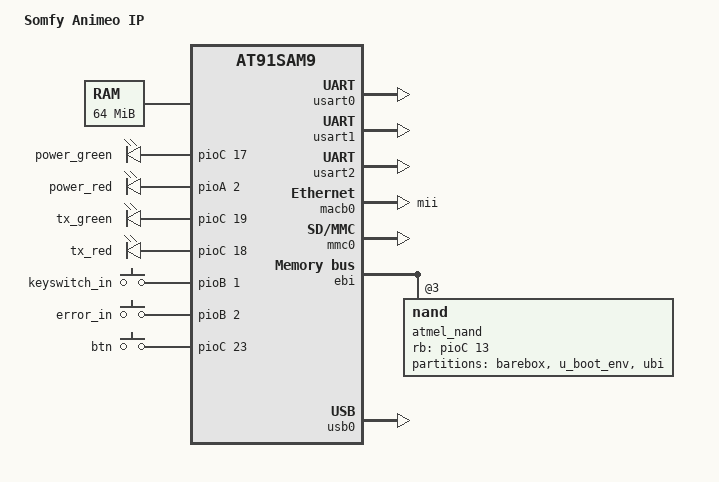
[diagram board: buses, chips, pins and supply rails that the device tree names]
// SPDX-License-Identifier: GPL-2.0-only
/*
 * animeo_ip.dts - Device Tree file for Somfy Animeo IP Boards
 *
 *  Copyright (C) 2011-2012 Jean-Christophe PLAGNIOL-VILLARD <plagnioj@jcrosoft.com>
 */

/dts-v1/;
#include "at91sam9260.dtsi"

/ {
	model = "Somfy Animeo IP";
	compatible = "somfy,animeo-ip", "atmel,at91sam9260", "atmel,at91sam9";

	aliases {
		serial0 = &usart1;
		serial1 = &usart2;
		serial2 = &usart0;
		serial3 = &dbgu;
		serial4 = &usart3;
		serial5 = &uart0;
		serial6 = &uart1;
	};

	chosen {
		stdout-path = &usart2;
	};

	memory@20000000 {
		reg = <0x20000000 0x4000000>;
	};

	clocks {
		slow_xtal {
			clock-frequency = <32768>;
		};

		main_xtal {
			clock-frequency = <18432000>;
		};
	};

	ahb {
		apb {
			tcb0: timer@fffa0000 {
				timer@0 {
					compatible = "atmel,tcb-timer";
					reg = <0>, <1>;
				};

				timer@2 {
					compatible = "atmel,tcb-timer";
					reg = <2>;
				};
			};

			usart0: serial@fffb0000 {
				pinctrl-0 = <&pinctrl_usart0 &pinctrl_usart0_rts>;
				linux,rs485-enabled-at-boot-time;
				status = "okay";
			};

			usart1: serial@fffb4000 {
				pinctrl-0 = <&pinctrl_usart1 &pinctrl_usart1_rts>;
				linux,rs485-enabled-at-boot-time;
				status = "okay";
			};

			usart2: serial@fffb8000 {
				pinctrl-0 = <&pinctrl_usart2>;
				status = "okay";
			};

			macb0: ethernet@fffc4000 {
				pinctrl-0 = <&pinctrl_macb_rmii &pinctrl_macb_rmii_mii>;
				phy-mode = "mii";
				status = "okay";
			};

			mmc0: mmc@fffa8000 {
				pinctrl-0 = <&pinctrl_mmc0_clk
					     &pinctrl_mmc0_slot1_cmd_dat0
					     &pinctrl_mmc0_slot1_dat1_3>;
				pinctrl-names = "default";
				status = "okay";

				slot@1 {
					reg = <1>;
					bus-width = <4>;
				};
			};

			watchdog@fffffd40 {
				status = "okay";
			};
		};

		ebi: ebi@10000000 {
			status = "okay";

			nand_controller: nand-controller {
				status = "okay";
				pinctrl-0 = <&pinctrl_nand_cs &pinctrl_nand_rb>;
				pinctrl-names = "default";

				nand@3 {
					reg = <0x3 0x0 0x800000>;
					rb-gpios = <&pioC 13 GPIO_ACTIVE_HIGH>;
					cs-gpios = <&pioC 14 GPIO_ACTIVE_HIGH>;
					nand-bus-width = <8>;
					nand-ecc-mode = "soft";
					nand-on-flash-bbt;
					label = "atmel_nand";

					partitions {
						compatible = "fixed-partitions";
						#address-cells = <1>;
						#size-cells = <1>;

						barebox@0 {
							label = "barebox";
							reg = <0x0 0x58000>;
						};

						u_boot_env@58000 {
							label = "u_boot_env";
							reg = <0x58000 0x8000>;
						};

						ubi@60000 {
							label = "ubi";
							reg = <0x60000 0x1FA0000>;
						};
					};
				};
			};
		};

		usb0: ohci@500000 {
			num-ports = <2>;
			atmel,vbus-gpio = <&pioB 15 GPIO_ACTIVE_LOW>;
			status = "okay";
		};
	};

	leds {
		compatible = "gpio-leds";

		power_green {
			label = "power_green";
			gpios = <&pioC 17 GPIO_ACTIVE_HIGH>;
			linux,default-trigger = "heartbeat";
		};

		power_red {
			label = "power_red";
			gpios = <&pioA 2 GPIO_ACTIVE_HIGH>;
		};

		tx_green {
			label = "tx_green";
			gpios = <&pioC 19 GPIO_ACTIVE_HIGH>;
		};

		tx_red {
			label = "tx_red";
			gpios = <&pioC 18 GPIO_ACTIVE_HIGH>;
		};
	};

	gpio-keys {
		compatible = "gpio-keys";

		key-switch-in {
			label = "keyswitch_in";
			gpios = <&pioB 1 GPIO_ACTIVE_HIGH>;
			linux,code = <28>;
			wakeup-source;
		};

		key-error-in {
			label = "error_in";
			gpios = <&pioB 2 GPIO_ACTIVE_HIGH>;
			linux,code = <29>;
			wakeup-source;
		};

		key-s {
			label = "btn";
			gpios = <&pioC 23 GPIO_ACTIVE_HIGH>;
			linux,code = <31>;
			wakeup-source;
		};
	};
};
